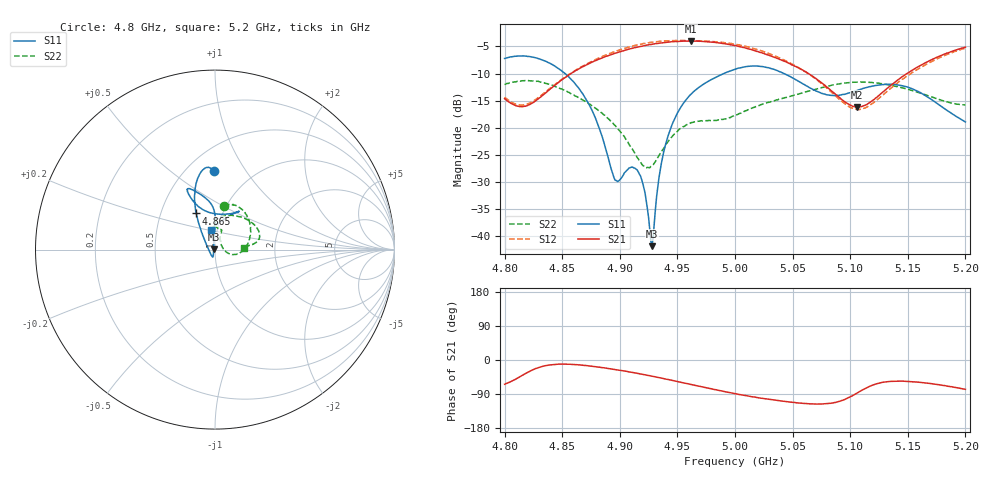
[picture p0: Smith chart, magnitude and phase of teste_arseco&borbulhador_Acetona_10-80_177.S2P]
! Network Analyzer HP8722D
! Hewlett-Packard
! Data name: Linha & Wilkinson
! Saver's name: Rodrigo Anjos
! Comments: Teste da utilização de aquisição
! continua pelo VNA HP8722D
! Time and date: 25/4/2025 16:44
!  Frequency  S11  S21  S12  S22
# HZ  S  MA R 50
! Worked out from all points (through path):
!   401 points, 4.8 GHz to 5.2 GHz, reference 50 ohm
!   highest |S21| = -3.99 dB at 4.962 GHz (marker M1); lowest = -16.2 dB at 5.106 GHz (marker M2)
!   lowest |S11| = -41.8 dB at 4.928 GHz (marker M3), VSWR 1.02, Z = 49.2 + j0.065 ohm
!   |S11| at or under -10 dB: 4.853 GHz to 4.99 GHz (137.6 MHz wide, 2.8 % of centre); 5.043 GHz to end of sweep
!   |S22| runs from -27.4 to -11.3 dB; largest |S21 - S12| = 1.2
!   S11 on the Smith chart (normalised r, x): 4.8 GHz: 0.67, +0.72; 4.865 GHz: 0.75, +0.32; 5.2 GHz: 0.94, +0.21
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4.8e9  0.4357 90.9  0.1858 -64.0  0.1909 69.5  0.2505 77.8
4.82e9  0.455 97.2  0.1607 -32.6  0.1665 98.3  0.2733 61.9
4.845e9  0.3622 107.6  0.2533 -11.2  0.2572 119.5  0.2374 34.6
4.865e9  0.2271 117.4  0.3521 -12.8  0.356 121.0  0.1888 11.4
4.867e9  0.2116 118.6  0.3624 -13.6  0.3664 120.8  0.1827 9.0
4.88e9  0.1143 128.6  0.4213 -18.3  0.4309 118.3  0.1489 -4.8
4.896e9  0.03285 -169.9  0.4874 -25.1  0.5045 113.5  0.105 -15.4
4.91e9  0.04333 -108.6  0.5387 -32.4  0.5625 107.1  0.06541 -12.9
4.917e9  0.03744 -104.8  0.5598 -36.2  0.5879 103.6  0.04976 -0.6
4.921e9  0.02764 -109.7  0.5723 -38.5  0.5988 101.4  0.04431 12.6
4.926e9  0.01154 -136.5  0.586 -41.5  0.6114 98.4  0.04287 32.7
4.928e9  0.008105 175.3  0.5895 -42.7  0.6141 97.2  0.04482 40.7
4.934e9  0.03465 100.7  0.6025 -46.4  0.6263 93.4  0.0554 57.2
4.944e9  0.09784 90.9  0.6204 -52.9  0.6359 87.0  0.07973 68.5
4.962e9  0.205 90.5  0.6318 -64.7  0.6385 75.6  0.1116 70.7
5e9  0.3469 109.3  0.5731 -88.8  0.5909 51.0  0.1304 88.0
5.029e9  0.3584 115.4  0.4684 -103.5  0.4867 34.5  0.1716 85.8
5.067e9  0.2279 105.6  0.301 -115.8  0.2983 23.6  0.2221 57.3
5.106e9  0.2205 65.4  0.1557 -87.2  0.1479 55.7  0.2633 24.9
5.134e9  0.2522 57.8  0.2395 -56.7  0.2253 88.7  0.2485 12.4
5.168e9  0.1903 69.9  0.4116 -61.6  0.3944 85.4  0.1966 7.1
5.2e9  0.1132 100.9  0.5542 -77.4  0.5426 70.3  0.1622 3.8
